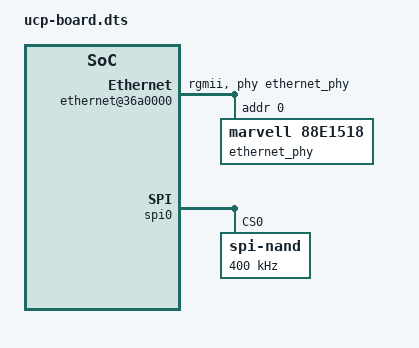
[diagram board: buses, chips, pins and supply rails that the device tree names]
/dts-v1/;

#include "skeleton.dtsi"

/ {
  #address-cells = <1>;
  #size-cells = <1>;

	ethernet@36a0000 {
		compatible = "nvidia,tegra186-eqos";
		reg = <0x36a0000 0x20000>;
  	status = "okay";
  	phy-mode = "rgmii";
    phy-handle = <&ethernet_phy>;
    #address-cells = <1>;
    #size-cells = <0>;
    ethernet_phy: marvell_phy@0 {
      compatible = "marvell,88E1518";
      reg = <0>;
    };
	};
   ahb_clk: ahb-clk {
      compatible = "fixed-clock";
      status = "okay";
      #clock-cells = <0>;
      clock-frequency = <50000000>;
    };
	spi0: spi@4a00000 {
	    status = "okay";
		compatible = "snps,dw-apb-ssi";
		reg = <0x4a00000 0x10000>;
//		clock-frequency = <250000>;
//	    spi-max-frequency = <250000>;
        #address-cells = <1>;
        #size-cells = <0>;
        clocks = <&ahb_clk>;
	  	spi-max-frequency = <500000>;
//        cs-gpio = <&cs_gpio 1>;
	    spi-nand@1 {
	    	compatible = "spi-nand";
            reg = <0>;
	  	spi-max-frequency = <400000>;
	    };
	};
//    cs_gpio: gpio@0x2118000 {
//		compatible = "snps,dw-apb-gpio-port";
//        reg = <0x2118000 0x8000>;
//			#address-cells = <1>;
//			#size-cells = <0>;
//			clocks = <&ahb_clk>;
//			status = "okay";
//			gpio-controller;
//    		#gpio-cells = <1>;
//
//			portb: gpio-controller@0 {
//				compatible = "snps,dw-apb-gpio-port";
//				bank-name = "portb";
//				gpio-controller;
//				#gpio-cells = <2>;
//				snps,nr-gpios = <29>;
//				reg = <0>;
//				interrupt-controller;
//				#interrupt-cells = <2>;
//				interrupts = <0 164 4>;
//			};
//    };
//	spi0: spi@4a00000 {
//	  status = "okay";
//		compatible = "snps,dw-apb-ssi";
//		reg = <0x4a00000 0x10000>;
//		clock-frequency = <250000>;
//	  spi-nand@0 {
//	  	compatible = "spi-nand";
//	  	spi-max-frequency = <250000>;
//	  };
//	};
};
